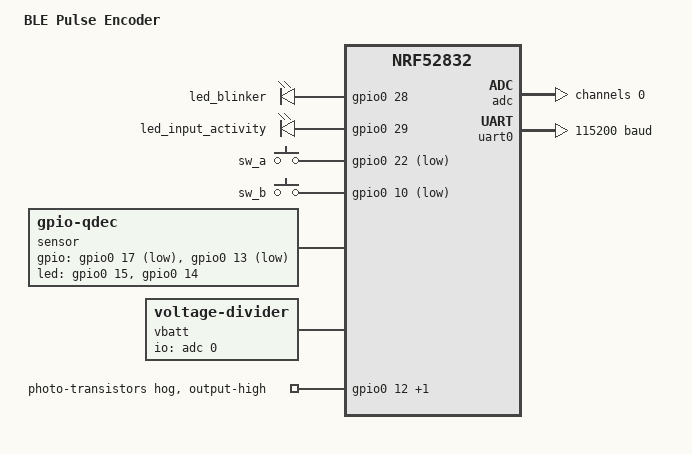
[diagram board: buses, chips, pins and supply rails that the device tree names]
/dts-v1/;
#include <nordic/nrf52832_qfaa.dtsi>
#include "ble_pulse_encoder-pinctrl.dtsi"
#include <zephyr/dt-bindings/input/input-event-codes.h>
#include <zephyr/dt-bindings/gpio/nordic-nrf-gpio.h>
#include <dt-bindings/hid.h>

/ {
	model = "BLE Pulse Encoder";
	compatible = "balto,ble-pulse-encoder";

	/* TODO: figure this out
	zephyr,user {
		chrg-gpios = <&gpio0 11 (GPIO_PULL_UP | GPIO_ACTIVE_LOW)>;
	};
	*/

	chosen {
		zephyr,console = &uart0;
		zephyr,shell-uart = &uart0;
		zephyr,uart-mcumgr = &uart0;
		zephyr,sram = &sram0;
		zephyr,flash = &flash0;
		zephyr,code-partition = &slot0_partition;
	};

	leds {
		compatible = "gpio-leds";
		led_blinker: led_a {
			gpios = <&gpio0 28 GPIO_ACTIVE_HIGH>;
		};
		led_input_activity: led_b {
			gpios = <&gpio0 29 GPIO_ACTIVE_HIGH>;
		};
	};

	buttons: buttons {
		compatible = "gpio-keys";
		sw_a {
			gpios = <&gpio0 22 (GPIO_PULL_UP | GPIO_ACTIVE_LOW)>;
			zephyr,code = <INPUT_BTN_RIGHT>;
		};
		sw_b {
			gpios = <&gpio0 10 (GPIO_PULL_UP | GPIO_ACTIVE_LOW)>;
			zephyr,code = <INPUT_BTN_LEFT>;
		};
	};

	sensor: gpio_qdec: gpio-qdec {
		compatible = "gpio-qdec";
		gpios = <&gpio0 17 GPIO_ACTIVE_LOW>,
			<&gpio0 13 GPIO_ACTIVE_LOW>;
		led-gpios = <&gpio0 15 (GPIO_ACTIVE_HIGH | NRF_GPIO_DRIVE_S0H1)>,
			    <&gpio0 14 (GPIO_ACTIVE_HIGH | NRF_GPIO_DRIVE_S0H1)>;
		led-pre-us = <4>;
		steps-per-period = <4>;
		zephyr,axis = <INPUT_REL_WHEEL>;
		sample-time-us = <128>;
		idle-timeout-ms = <100>;
		idle-poll-time-us = <5000>;
	};

	vbatt: vbatt {
		compatible = "voltage-divider";
		io-channels = <&adc 0>;
		output-ohms = <(560 * 1000)>;
		full-ohms = <(560 * 1000 * 2)>;
	};

	hid {
		compatible = "hid";
		input { 
		hid-mouse {
			compatible = "hid-mouse";
			input = <&gpio_qdec &buttons>;
			input-id = <1>;
			report = <HID_MOUSE_REPORT(1)>;
		};
		};
		output {
			hid-hog {
				compatible = "hid-hog";
			};
		};
	};

	ble-unpair {
		input = <&buttons>;
		compatible = "ble-unpair";
		key-a = <INPUT_BTN_LEFT>;
		key-b = <INPUT_BTN_RIGHT>;
	};
};

&uicr {
	nfct-pins-as-gpios;
};

&adc {
	status = "okay";
	#address-cells = <1>;
	#size-cells = <0>;

	channel@0 {
		reg = <0>;
		zephyr,gain = "ADC_GAIN_1_4";
		zephyr,reference = "ADC_REF_INTERNAL";
		zephyr,acquisition-time = <ADC_ACQ_TIME(ADC_ACQ_TIME_MICROSECONDS, 40)>;
		zephyr,input-positive = <NRF_SAADC_AIN3>;
		zephyr,resolution = <10>;
	};
};

&gpiote {
	status = "okay";
};

&gpio0 {
	status = "okay";
	sense-edge-mask = <0xffffffff>;

	photo-transistors {
		gpio-hog;
		gpios = <12 GPIO_ACTIVE_HIGH>,
			<16 GPIO_ACTIVE_HIGH>;
		output-high;
	};
};

&uart0 {
	status = "okay";
	compatible = "nordic,nrf-uarte";
	current-speed = <115200>;
	pinctrl-0 = <&uart0_default>;
	pinctrl-1 = <&uart0_sleep>;
	pinctrl-names = "default", "sleep";
};

&flash0 {
	partitions {
		compatible = "fixed-partitions";
		#address-cells = <1>;
		#size-cells = <1>;

		boot_partition: partition@0 {
			label = "mcuboot";
			reg = <0x00000000 0x8000>;
		};
		slot0_partition: partition@8000 {
			label = "image-0";
			reg = <0x00008000 0x3a000>;
		};
		slot1_partition: partition@42000 {
			label = "image-1";
			reg = <0x00042000 0x3a000>;
		};
		storage_partition: partition@7c000 {
			label = "storage";
			reg = <0x0007c000 0x00004000>;
		};
	};
};
